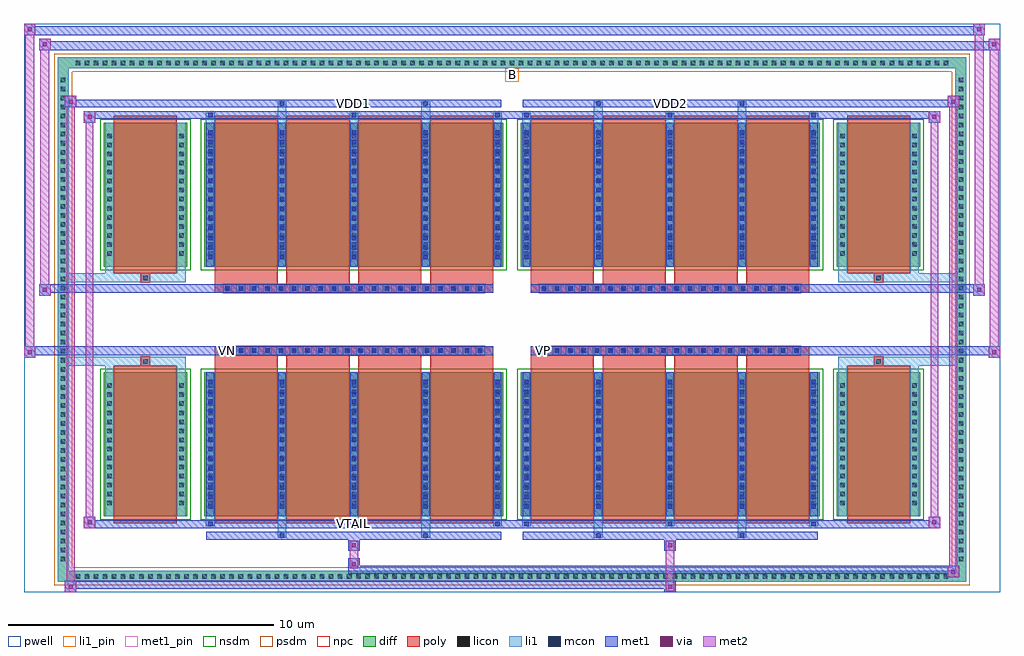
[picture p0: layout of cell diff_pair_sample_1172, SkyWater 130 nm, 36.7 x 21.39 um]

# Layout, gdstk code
import gdstk
lib = gdstk.Library(unit=1e-6, precision=5e-09)
def R(c, l, rs):  # rectangles x0, y0, x1, y1
    for r in rs: c.add(gdstk.rectangle(r[:2], r[2:], *l))
def A(c, l, x, y, w, h, nx, ny, dx, dy):  # array of equal rectangles
    R(c, l, [(x+i*dx, y+j*dy, x+i*dx+w, y+j*dy+h) for i in range(nx) for j in range(ny)])
def P(c, l, *ps):  # polygons
    for p in ps: c.add(gdstk.Polygon(p, *l))
pwell = (64, 44)
diff = (65, 20)
poly = (66, 20)
licon = (66, 44)
li1_pin = (67, 16)
li1 = (67, 20)
mcon = (67, 44)
met1_pin = (68, 16)
met1 = (68, 20)
via = (68, 44)
met2 = (69, 20)
nsdm = (93, 44)
psdm = (94, 20)
npc = (95, 20)

diff_pair_sample_1172 = lib.new_cell('diff_pair_sample_1172')
R(diff_pair_sample_1172, pwell, [(-18.35,-10.26,18.35,11.13), (-15.67,-8.45,-0.01,-0.805), (0.01,-8.45,15.67,-0.805), (-15.67,0.805,-0.01,8.45), (0.01,0.805,15.67,8.45)])
A(diff_pair_sample_1172, diff, -16.525, -9.86, 0.41, 0.41, 97, 2, 0.34, 19.31)
A(diff_pair_sample_1172, diff, -17.08, -9.215, 0.41, 0.41, 1, 54, 0, 0.34)
A(diff_pair_sample_1172, diff, 16.67, -9.215, 0.41, 0.41, 1, 54, 0, 0.34)
R(diff_pair_sample_1172, diff, [(-16.525,-9.86,16.525,-9.45), (-17.08,-9.215,-16.67,9.215), (16.67,-9.215,17.08,9.215), (-15.36,-7.405,-12.21,-1.985), (-11.57,-7.405,-0.32,-1.985), (0.32,-7.405,11.57,-1.985), (12.21,-7.405,15.36,-1.985), (-15.36,1.985,-12.21,7.405), (-11.57,1.985,-0.32,7.405), (0.32,1.985,11.57,7.405), (12.21,1.985,15.36,7.405), (-16.525,9.45,16.525,9.86)])
P(diff_pair_sample_1172, diff, [(17.08,9.86),(-17.08,9.86),(-17.08,-9.45),(-16.67,-9.45),(-16.67,9.45),(16.67,9.45),(16.67,-9.45),(-16.67,-9.45),(-17.08,-9.45),(-17.08,-9.86),(17.08,-9.86)])
A(diff_pair_sample_1172, poly, -11.18, -7.655, 2.37, 5.92, 4, 2, 2.7, 9.39)
A(diff_pair_sample_1172, poly, 0.71, -7.655, 2.37, 5.92, 4, 2, 2.7, 9.39)
A(diff_pair_sample_1172, poly, -11.18, -1.735, 2.37, 0.4, 4, 2, 2.7, 3.07)
A(diff_pair_sample_1172, poly, 0.71, -1.735, 2.37, 0.4, 4, 2, 2.7, 3.07)
A(diff_pair_sample_1172, poly, -10.86, -1.335, 0.33, 0.33, 20, 2, 0.5, 2.34)
A(diff_pair_sample_1172, poly, 1.03, -1.335, 0.33, 0.33, 20, 2, 0.5, 2.34)
R(diff_pair_sample_1172, poly, [(-14.97,-7.655,-12.6,-1.735), (12.6,-7.655,14.97,-1.735), (-13.95,-1.735,-13.62,-1.405), (-13.95,-1.735,-13.62,-1.405), (13.62,-1.735,13.95,-1.405), (13.62,-1.735,13.95,-1.405), (-11.18,-1.335,-0.71,-1.005), (0.71,-1.335,11.18,-1.005), (-11.18,1.005,-0.71,1.335), (0.71,1.005,11.18,1.335), (-13.95,1.405,-13.62,1.735), (-13.95,1.405,-13.62,1.735), (13.62,1.405,13.95,1.735), (13.62,1.405,13.95,1.735), (-14.97,1.735,-12.6,7.655), (12.6,1.735,14.97,7.655)])
A(diff_pair_sample_1172, licon, -16.405, -9.74, 0.17, 0.17, 97, 2, 0.34, 19.31)
A(diff_pair_sample_1172, licon, -16.96, -9.095, 0.17, 0.17, 1, 54, 0, 0.34)
A(diff_pair_sample_1172, licon, 16.79, -9.095, 0.17, 0.17, 1, 54, 0, 0.34)
A(diff_pair_sample_1172, licon, -15.22, -6.99, 0.17, 0.17, 1, 14, 0, 0.34)
A(diff_pair_sample_1172, licon, -12.52, -6.99, 0.17, 0.17, 1, 14, 0, 0.34)
A(diff_pair_sample_1172, licon, -11.43, -6.99, 0.17, 0.17, 5, 14, 2.7, 0.34)
A(diff_pair_sample_1172, licon, 0.46, -6.99, 0.17, 0.17, 5, 14, 2.7, 0.34)
A(diff_pair_sample_1172, licon, 12.35, -6.99, 0.17, 0.17, 1, 14, 0, 0.34)
A(diff_pair_sample_1172, licon, 15.05, -6.99, 0.17, 0.17, 1, 14, 0, 0.34)
A(diff_pair_sample_1172, licon, -10.78, -1.255, 0.17, 0.17, 20, 2, 0.5, 2.34)
A(diff_pair_sample_1172, licon, 1.11, -1.255, 0.17, 0.17, 20, 2, 0.5, 2.34)
A(diff_pair_sample_1172, licon, -15.22, 2.4, 0.17, 0.17, 1, 14, 0, 0.34)
A(diff_pair_sample_1172, licon, -12.52, 2.4, 0.17, 0.17, 1, 14, 0, 0.34)
A(diff_pair_sample_1172, licon, -11.43, 2.4, 0.17, 0.17, 5, 14, 2.7, 0.34)
A(diff_pair_sample_1172, licon, 0.46, 2.4, 0.17, 0.17, 5, 14, 2.7, 0.34)
A(diff_pair_sample_1172, licon, 12.35, 2.4, 0.17, 0.17, 1, 14, 0, 0.34)
A(diff_pair_sample_1172, licon, 15.05, 2.4, 0.17, 0.17, 1, 14, 0, 0.34)
R(diff_pair_sample_1172, licon, [(-13.87,-1.655,-13.7,-1.485), (13.7,-1.655,13.87,-1.485), (-13.87,1.485,-13.7,1.655), (13.7,1.485,13.87,1.655)])
R(diff_pair_sample_1172, li1_pin, [(-0.25,8.95,0.25,9.45)])
A(diff_pair_sample_1172, li1, -16.485, -9.82, 0.33, 0.33, 97, 2, 0.34, 19.31)
A(diff_pair_sample_1172, li1, -17.04, -9.175, 0.33, 0.33, 1, 54, 0, 0.34)
A(diff_pair_sample_1172, li1, 16.71, -9.175, 0.33, 0.33, 1, 54, 0, 0.34)
A(diff_pair_sample_1172, li1, -11.51, -7.78, 0.33, 0.375, 3, 2, 5.4, 15.185)
A(diff_pair_sample_1172, li1, -11.43, -7.78, 0.17, 0.17, 3, 2, 5.4, 15.39)
A(diff_pair_sample_1172, li1, 0.38, -7.78, 0.33, 0.375, 3, 2, 5.4, 15.185)
A(diff_pair_sample_1172, li1, 0.46, -7.78, 0.17, 0.17, 3, 2, 5.4, 15.39)
A(diff_pair_sample_1172, li1, -11.51, -7.405, 0.33, 5.42, 5, 2, 2.7, 9.39)
A(diff_pair_sample_1172, li1, 0.38, -7.405, 0.33, 5.42, 5, 2, 2.7, 9.39)
A(diff_pair_sample_1172, li1, -11.43, -7.12, 0.17, 0.17, 5, 14, 2.7, 0.36)
A(diff_pair_sample_1172, li1, -11.43, -7.12, 0.17, 4.85, 5, 2, 2.7, 9.39)
A(diff_pair_sample_1172, li1, 0.46, -7.12, 0.17, 0.17, 5, 14, 2.7, 0.36)
A(diff_pair_sample_1172, li1, 0.46, -7.12, 0.17, 4.85, 5, 2, 2.7, 9.39)
A(diff_pair_sample_1172, li1, -15.3, -7.07, 0.33, 0.33, 1, 14, 0, 0.34)
A(diff_pair_sample_1172, li1, -12.6, -7.07, 0.33, 0.33, 1, 14, 0, 0.34)
A(diff_pair_sample_1172, li1, -11.51, -7.07, 0.33, 0.33, 5, 14, 2.7, 0.34)
A(diff_pair_sample_1172, li1, 0.38, -7.07, 0.33, 0.33, 5, 14, 2.7, 0.34)
A(diff_pair_sample_1172, li1, 12.27, -7.07, 0.33, 0.33, 1, 14, 0, 0.34)
A(diff_pair_sample_1172, li1, 14.97, -7.07, 0.33, 0.33, 1, 14, 0, 0.34)
A(diff_pair_sample_1172, li1, -10.86, -1.335, 0.33, 0.33, 20, 2, 0.5, 2.34)
A(diff_pair_sample_1172, li1, 1.03, -1.335, 0.33, 0.33, 20, 2, 0.5, 2.34)
A(diff_pair_sample_1172, li1, -11.43, 2.27, 0.17, 0.17, 5, 14, 2.7, 0.36)
A(diff_pair_sample_1172, li1, 0.46, 2.27, 0.17, 0.17, 5, 14, 2.7, 0.36)
A(diff_pair_sample_1172, li1, -15.3, 2.32, 0.33, 0.33, 1, 14, 0, 0.34)
A(diff_pair_sample_1172, li1, -12.6, 2.32, 0.33, 0.33, 1, 14, 0, 0.34)
A(diff_pair_sample_1172, li1, -11.51, 2.32, 0.33, 0.33, 5, 14, 2.7, 0.34)
A(diff_pair_sample_1172, li1, 0.38, 2.32, 0.33, 0.33, 5, 14, 2.7, 0.34)
A(diff_pair_sample_1172, li1, 12.27, 2.32, 0.33, 0.33, 1, 14, 0, 0.34)
A(diff_pair_sample_1172, li1, 14.97, 2.32, 0.33, 0.33, 1, 14, 0, 0.34)
R(diff_pair_sample_1172, li1, [(-17.08,-9.86,-16.67,-9.45), (-17.08,-9.86,-16.67,-9.45), (-16.67,-9.86,16.67,-9.45), (16.67,-9.86,17.08,-9.45), (16.67,-9.86,17.08,-9.45), (-17.08,-9.45,-16.67,9.45), (16.67,-9.45,17.08,9.45), (-8.81,-8.21,-8.48,-7.405), (-8.73,-8.21,-8.56,-8.04), (-3.41,-8.21,-3.08,-7.405), (-3.33,-8.21,-3.16,-8.04), (3.08,-8.21,3.41,-7.405), (3.16,-8.21,3.33,-8.04), (8.48,-8.21,8.81,-7.405), (8.56,-8.21,8.73,-8.04), (-15.3,-7.405,-14.97,-1.985), (-12.6,-7.405,-12.27,-1.985), (12.27,-7.405,12.6,-1.985), (14.97,-7.405,15.3,-1.985), (-15.3,-1.985,-14.97,-1.405), (-12.6,-1.985,-12.27,-1.405), (12.27,-1.985,12.6,-1.405), (14.97,-1.985,15.3,-1.405), (-17.08,-1.735,-13.95,-1.405), (-15.3,-1.735,-13.95,-1.405), (-13.95,-1.735,-13.62,-1.405), (-13.62,-1.735,-12.27,-1.405), (12.27,-1.735,13.62,-1.405), (13.62,-1.735,13.95,-1.405), (13.62,-1.735,17.08,-1.405), (13.95,-1.735,15.3,-1.405), (-17.08,1.405,-13.95,1.735), (-15.3,1.405,-13.95,1.735), (-15.3,1.405,-14.97,1.985), (-13.95,1.405,-13.62,1.735), (-13.62,1.405,-12.27,1.735), (-12.6,1.405,-12.27,1.985), (12.27,1.405,13.62,1.735), (12.27,1.405,12.6,1.985), (13.62,1.405,13.95,1.735), (13.62,1.405,17.08,1.735), (13.95,1.405,15.3,1.735), (14.97,1.405,15.3,1.985), (-15.3,1.985,-14.97,7.405), (-12.6,1.985,-12.27,7.405), (12.27,1.985,12.6,7.405), (14.97,1.985,15.3,7.405), (-8.81,7.405,-8.48,8.21), (-3.41,7.405,-3.08,8.21), (3.08,7.405,3.41,8.21), (8.48,7.405,8.81,8.21), (-8.73,8.04,-8.56,8.21), (-3.33,8.04,-3.16,8.21), (3.16,8.04,3.33,8.21), (8.56,8.04,8.73,8.21), (-17.08,9.45,-16.67,9.86), (-17.08,9.45,-16.67,9.86), (-16.67,9.45,16.67,9.86), (16.67,9.45,17.08,9.86), (16.67,9.45,17.08,9.86)])
A(diff_pair_sample_1172, mcon, -11.43, -7.78, 0.17, 0.17, 3, 2, 5.4, 15.39)
A(diff_pair_sample_1172, mcon, 0.46, -7.78, 0.17, 0.17, 3, 2, 5.4, 15.39)
A(diff_pair_sample_1172, mcon, -11.43, -7.12, 0.17, 0.17, 5, 14, 2.7, 0.36)
A(diff_pair_sample_1172, mcon, 0.46, -7.12, 0.17, 0.17, 5, 14, 2.7, 0.36)
A(diff_pair_sample_1172, mcon, -10.78, -1.255, 0.17, 0.17, 20, 2, 0.5, 2.34)
A(diff_pair_sample_1172, mcon, 1.11, -1.255, 0.17, 0.17, 20, 2, 0.5, 2.34)
A(diff_pair_sample_1172, mcon, -11.43, 2.27, 0.17, 0.17, 5, 14, 2.7, 0.36)
A(diff_pair_sample_1172, mcon, 0.46, 2.27, 0.17, 0.17, 5, 14, 2.7, 0.36)
R(diff_pair_sample_1172, mcon, [(-8.73,-8.21,-8.56,-8.04), (-3.33,-8.21,-3.16,-8.04), (3.16,-8.21,3.33,-8.04), (8.56,-8.21,8.73,-8.04), (-8.73,8.04,-8.56,8.21), (-3.33,8.04,-3.16,8.21), (3.16,8.04,3.33,8.21), (8.56,8.04,8.73,8.21)])
R(diff_pair_sample_1172, met1_pin, [(-6.08,-7.82,-5.81,-7.55), (-10.83,-1.295,-10.56,-1.025), (1.06,-1.295,1.33,-1.025), (-6.08,8,-5.81,8.27), (5.81,8,6.08,8.27)])
A(diff_pair_sample_1172, met1, -11.49, -7.84, 0.29, 0.29, 3, 2, 5.4, 15.39)
A(diff_pair_sample_1172, met1, 0.4, -7.84, 0.29, 0.29, 3, 2, 5.4, 15.39)
A(diff_pair_sample_1172, met1, -11.49, -7.405, 0.29, 5.42, 5, 2, 2.7, 9.39)
A(diff_pair_sample_1172, met1, 0.4, -7.405, 0.29, 5.42, 5, 2, 2.7, 9.39)
A(diff_pair_sample_1172, met1, -11.49, -7.18, 0.29, 0.29, 5, 14, 2.7, 0.36)
A(diff_pair_sample_1172, met1, 0.4, -7.18, 0.29, 0.29, 5, 14, 2.7, 0.36)
A(diff_pair_sample_1172, met1, -10.84, -1.315, 0.29, 0.29, 20, 2, 0.5, 2.34)
A(diff_pair_sample_1172, met1, 1.05, -1.315, 0.29, 0.29, 20, 2, 0.5, 2.34)
A(diff_pair_sample_1172, met1, -11.49, 2.21, 0.29, 0.29, 5, 14, 2.7, 0.36)
A(diff_pair_sample_1172, met1, 0.4, 2.21, 0.29, 0.29, 5, 14, 2.7, 0.36)
R(diff_pair_sample_1172, met1, [(-16.81,-10.26,-16.38,-9.83), (5.73,-10.26,6.16,-9.83), (-16.81,-10.12,6.16,-9.83), (16.38,-9.69,16.81,-9.26), (-6.16,-9.55,16.81,-9.26), (-6.16,-9.41,-5.73,-8.98), (-6.16,-8.7,-5.73,-8.27), (5.73,-8.7,6.16,-8.27), (-11.49,-8.27,-0.4,-7.98), (-8.79,-8.27,-8.5,-7.98), (-3.39,-8.27,-3.1,-7.98), (0.4,-8.27,11.49,-7.98), (3.1,-8.27,3.39,-7.98), (8.5,-8.27,8.79,-7.98), (-16.1,-7.84,-15.67,-7.41), (-16.1,-7.84,-11.49,-7.55), (-11.49,-7.84,-0.4,-7.55), (-0.4,-7.84,0.4,-7.55), (0.4,-7.84,11.49,-7.55), (11.49,-7.84,16.1,-7.55), (15.67,-7.84,16.1,-7.41), (-18.35,-1.435,-17.92,-1.005), (17.92,-1.435,18.35,-1.005), (-18.35,-1.335,-0.71,-1.005), (-11.18,-1.335,-0.71,-1.005), (0.71,-1.335,11.18,-1.005), (0.71,-1.335,18.35,-1.005), (-17.78,0.905,-17.35,1.335), (17.35,0.905,17.78,1.335), (-17.78,1.005,-11.18,1.335), (-11.18,1.005,-0.71,1.335), (0.71,1.005,11.18,1.335), (11.18,1.005,17.78,1.335), (-16.1,7.41,-15.67,7.84), (15.67,7.41,16.1,7.84), (-16.1,7.55,-11.49,7.84), (-11.49,7.55,-0.4,7.84), (-0.4,7.55,0.4,7.84), (0.4,7.55,11.49,7.84), (11.49,7.55,16.1,7.84), (-16.81,7.98,-16.38,8.41), (-16.81,7.98,-11.49,8.27), (-11.49,7.98,-0.4,8.27), (-8.79,7.98,-8.5,8.27), (-3.39,7.98,-3.1,8.27), (0.4,7.98,11.49,8.27), (3.1,7.98,3.39,8.27), (8.5,7.98,8.79,8.27), (11.49,7.98,16.81,8.27), (16.38,7.98,16.81,8.41), (-17.78,10.13,-17.35,10.56), (-17.78,10.13,-15.67,10.46), (-15.67,10.13,15.67,10.46), (15.67,10.13,18.35,10.46), (17.92,10.13,18.35,10.56), (-18.35,10.7,-17.92,11.13), (-18.35,10.7,-15.67,11.03), (-15.67,10.7,15.67,11.03), (15.67,10.7,17.78,11.03), (17.35,10.7,17.78,11.13)])
R(diff_pair_sample_1172, via, [(-16.67,-10.12,-16.52,-9.97), (5.87,-10.12,6.02,-9.97), (16.52,-9.55,16.67,-9.4), (-6.02,-9.27,-5.87,-9.12), (-6.02,-8.56,-5.87,-8.41), (5.87,-8.56,6.02,-8.41), (-15.96,-7.7,-15.81,-7.55), (15.81,-7.7,15.96,-7.55), (-18.21,-1.295,-18.06,-1.145), (18.06,-1.295,18.21,-1.145), (-17.64,1.045,-17.49,1.195), (17.49,1.045,17.64,1.195), (-15.96,7.55,-15.81,7.7), (15.81,7.55,15.96,7.7), (-16.67,8.12,-16.52,8.27), (16.52,8.12,16.67,8.27), (-17.64,10.27,-17.49,10.42), (18.06,10.27,18.21,10.42), (-18.21,10.84,-18.06,10.99), (17.49,10.84,17.64,10.99)])
R(diff_pair_sample_1172, met2, [(-16.81,-10.26,-16.38,-9.83), (-16.74,-10.26,-16.45,8.41), (-16.45,-10.26,-16.38,-9.83), (-16.76,-10.21,-16.43,-9.88), (5.78,-10.21,6.11,-9.88), (5.78,-9.88,6.11,-8.65), (16.38,-9.69,16.81,-9.26), (16.45,-9.69,16.74,8.41), (16.74,-9.69,16.81,-9.26), (16.43,-9.64,16.76,-9.31), (-6.11,-9.36,-5.78,-9.03), (-6.11,-9.03,-5.78,-8.65), (-6.11,-8.65,-5.78,-8.32), (5.78,-8.65,6.11,-8.32), (-16.1,-7.84,-15.67,-7.41), (-16.03,-7.84,-15.74,7.84), (-15.74,-7.84,-15.67,-7.41), (15.67,-7.84,16.1,-7.41), (15.74,-7.84,16.03,7.84), (16.03,-7.84,16.1,-7.41), (-16.05,-7.79,-15.72,-7.46), (15.72,-7.79,16.05,-7.46), (-18.35,-1.435,-17.92,-1.005), (-18.3,-1.435,-17.97,11.13), (-17.97,-1.435,-17.92,-1.005), (17.92,-1.435,18.35,-1.005), (17.97,-1.435,18.3,10.56), (18.3,-1.435,18.35,-1.005), (-18.3,-1.385,-17.97,-1.055), (17.97,-1.385,18.3,-1.055), (-17.78,0.905,-17.35,1.335), (-17.73,0.905,-17.4,10.56), (-17.4,0.905,-17.35,1.335), (17.35,0.905,17.78,1.335), (17.4,0.905,17.73,11.13), (17.73,0.905,17.78,1.335), (-17.73,0.955,-17.4,1.285), (17.4,0.955,17.73,1.285), (-16.1,7.41,-15.67,7.84), (-15.74,7.41,-15.67,7.84), (15.67,7.41,16.1,7.84), (16.03,7.41,16.1,7.84), (-16.05,7.46,-15.72,7.79), (15.72,7.46,16.05,7.79), (-16.81,7.98,-16.38,8.41), (-16.45,7.98,-16.38,8.41), (16.38,7.98,16.81,8.41), (16.74,7.98,16.81,8.41), (-16.76,8.03,-16.43,8.36), (16.43,8.03,16.76,8.36), (-17.78,10.13,-17.35,10.56), (-17.4,10.13,-17.35,10.56), (17.92,10.13,18.35,10.56), (18.3,10.13,18.35,10.56), (-17.73,10.18,-17.4,10.51), (17.97,10.18,18.3,10.51), (-18.35,10.7,-17.92,11.13), (-17.97,10.7,-17.92,11.13), (17.35,10.7,17.78,11.13), (17.73,10.7,17.78,11.13), (-18.3,10.75,-17.97,11.08), (17.4,10.75,17.73,11.08)])
R(diff_pair_sample_1172, nsdm, [(-15.49,-7.535,-12.08,-1.855), (-11.7,-7.535,-0.19,-1.855), (0.19,-7.535,11.7,-1.855), (12.08,-7.535,15.49,-1.855), (-15.49,1.855,-12.08,7.535), (-11.7,1.855,-0.19,7.535), (0.19,1.855,11.7,7.535), (12.08,1.855,15.49,7.535)])
P(diff_pair_sample_1172, psdm, [(17.21,9.99),(-17.21,9.99),(-17.21,-9.32),(-16.54,-9.32),(-16.54,9.32),(16.54,9.32),(16.54,-9.32),(-16.54,-9.32),(-17.21,-9.32),(-17.21,-9.99),(17.21,-9.99)])
A(diff_pair_sample_1172, npc, -10.88, -1.355, 0.37, 0.37, 20, 2, 0.5, 2.34)
A(diff_pair_sample_1172, npc, 1.01, -1.355, 0.37, 0.37, 20, 2, 0.5, 2.34)
R(diff_pair_sample_1172, npc, [(-13.97,-1.755,-13.6,-1.385), (13.6,-1.755,13.97,-1.385), (-10.88,-1.355,-10.01,-0.985), (-10.88,-1.355,-10.01,-0.985), (-10.38,-1.355,-9.51,-0.985), (-10.38,-1.355,-9.51,-0.985), (-9.88,-1.355,-9.01,-0.985), (-9.88,-1.355,-9.01,-0.985), (-9.38,-1.355,-8.51,-0.985), (-9.38,-1.355,-8.51,-0.985), (-8.88,-1.355,-8.01,-0.985), (-8.88,-1.355,-8.01,-0.985), (-8.38,-1.355,-7.51,-0.985), (-8.38,-1.355,-7.51,-0.985), (-7.88,-1.355,-7.01,-0.985), (-7.88,-1.355,-7.01,-0.985), (-7.38,-1.355,-6.51,-0.985), (-7.38,-1.355,-6.51,-0.985), (-6.88,-1.355,-6.01,-0.985), (-6.88,-1.355,-6.01,-0.985), (-6.38,-1.355,-5.51,-0.985), (-6.38,-1.355,-5.51,-0.985), (-5.88,-1.355,-5.01,-0.985), (-5.88,-1.355,-5.01,-0.985), (-5.38,-1.355,-4.51,-0.985), (-5.38,-1.355,-4.51,-0.985), (-4.88,-1.355,-4.01,-0.985), (-4.88,-1.355,-4.01,-0.985), (-4.38,-1.355,-3.51,-0.985), (-4.38,-1.355,-3.51,-0.985), (-3.88,-1.355,-3.01,-0.985), (-3.88,-1.355,-3.01,-0.985), (-3.38,-1.355,-2.51,-0.985), (-3.38,-1.355,-2.51,-0.985), (-2.88,-1.355,-2.01,-0.985), (-2.88,-1.355,-2.01,-0.985), (-2.38,-1.355,-1.51,-0.985), (-2.38,-1.355,-1.51,-0.985), (-1.88,-1.355,-1.01,-0.985), (-1.88,-1.355,-1.01,-0.985), (1.01,-1.355,1.88,-0.985), (1.01,-1.355,1.88,-0.985), (1.51,-1.355,2.38,-0.985), (1.51,-1.355,2.38,-0.985), (2.01,-1.355,2.88,-0.985), (2.01,-1.355,2.88,-0.985), (2.51,-1.355,3.38,-0.985), (2.51,-1.355,3.38,-0.985), (3.01,-1.355,3.88,-0.985), (3.01,-1.355,3.88,-0.985), (3.51,-1.355,4.38,-0.985), (3.51,-1.355,4.38,-0.985), (4.01,-1.355,4.88,-0.985), (4.01,-1.355,4.88,-0.985), (4.51,-1.355,5.38,-0.985), (4.51,-1.355,5.38,-0.985), (5.01,-1.355,5.88,-0.985), (5.01,-1.355,5.88,-0.985), (5.51,-1.355,6.38,-0.985), (5.51,-1.355,6.38,-0.985), (6.01,-1.355,6.88,-0.985), (6.01,-1.355,6.88,-0.985), (6.51,-1.355,7.38,-0.985), (6.51,-1.355,7.38,-0.985), (7.01,-1.355,7.88,-0.985), (7.01,-1.355,7.88,-0.985), (7.51,-1.355,8.38,-0.985), (7.51,-1.355,8.38,-0.985), (8.01,-1.355,8.88,-0.985), (8.01,-1.355,8.88,-0.985), (8.51,-1.355,9.38,-0.985), (8.51,-1.355,9.38,-0.985), (9.01,-1.355,9.88,-0.985), (9.01,-1.355,9.88,-0.985), (9.51,-1.355,10.38,-0.985), (9.51,-1.355,10.38,-0.985), (10.01,-1.355,10.88,-0.985), (10.01,-1.355,10.88,-0.985), (-10.88,0.985,-10.01,1.355), (-10.88,0.985,-10.01,1.355), (-10.38,0.985,-9.51,1.355), (-10.38,0.985,-9.51,1.355), (-9.88,0.985,-9.01,1.355), (-9.88,0.985,-9.01,1.355), (-9.38,0.985,-8.51,1.355), (-9.38,0.985,-8.51,1.355), (-8.88,0.985,-8.01,1.355), (-8.88,0.985,-8.01,1.355), (-8.38,0.985,-7.51,1.355), (-8.38,0.985,-7.51,1.355), (-7.88,0.985,-7.01,1.355), (-7.88,0.985,-7.01,1.355), (-7.38,0.985,-6.51,1.355), (-7.38,0.985,-6.51,1.355), (-6.88,0.985,-6.01,1.355), (-6.88,0.985,-6.01,1.355), (-6.38,0.985,-5.51,1.355), (-6.38,0.985,-5.51,1.355), (-5.88,0.985,-5.01,1.355), (-5.88,0.985,-5.01,1.355), (-5.38,0.985,-4.51,1.355), (-5.38,0.985,-4.51,1.355), (-4.88,0.985,-4.01,1.355), (-4.88,0.985,-4.01,1.355), (-4.38,0.985,-3.51,1.355), (-4.38,0.985,-3.51,1.355), (-3.88,0.985,-3.01,1.355), (-3.88,0.985,-3.01,1.355), (-3.38,0.985,-2.51,1.355), (-3.38,0.985,-2.51,1.355), (-2.88,0.985,-2.01,1.355), (-2.88,0.985,-2.01,1.355), (-2.38,0.985,-1.51,1.355), (-2.38,0.985,-1.51,1.355), (-1.88,0.985,-1.01,1.355), (-1.88,0.985,-1.01,1.355), (1.01,0.985,1.88,1.355), (1.01,0.985,1.88,1.355), (1.51,0.985,2.38,1.355), (1.51,0.985,2.38,1.355), (2.01,0.985,2.88,1.355), (2.01,0.985,2.88,1.355), (2.51,0.985,3.38,1.355), (2.51,0.985,3.38,1.355), (3.01,0.985,3.88,1.355), (3.01,0.985,3.88,1.355), (3.51,0.985,4.38,1.355), (3.51,0.985,4.38,1.355), (4.01,0.985,4.88,1.355), (4.01,0.985,4.88,1.355), (4.51,0.985,5.38,1.355), (4.51,0.985,5.38,1.355), (5.01,0.985,5.88,1.355), (5.01,0.985,5.88,1.355), (5.51,0.985,6.38,1.355), (5.51,0.985,6.38,1.355), (6.01,0.985,6.88,1.355), (6.01,0.985,6.88,1.355), (6.51,0.985,7.38,1.355), (6.51,0.985,7.38,1.355), (7.01,0.985,7.88,1.355), (7.01,0.985,7.88,1.355), (7.51,0.985,8.38,1.355), (7.51,0.985,8.38,1.355), (8.01,0.985,8.88,1.355), (8.01,0.985,8.88,1.355), (8.51,0.985,9.38,1.355), (8.51,0.985,9.38,1.355), (9.01,0.985,9.88,1.355), (9.01,0.985,9.88,1.355), (9.51,0.985,10.38,1.355), (9.51,0.985,10.38,1.355), (10.01,0.985,10.88,1.355), (10.01,0.985,10.88,1.355), (-13.97,1.385,-13.6,1.755), (13.6,1.385,13.97,1.755)])
diff_pair_sample_1172.add(gdstk.Label('VTAIL', (-5.945,-7.685), layer=68, texttype=5))
diff_pair_sample_1172.add(gdstk.Label('VN', (-10.695,-1.16), layer=68, texttype=5))
diff_pair_sample_1172.add(gdstk.Label('VP', (1.195,-1.16), layer=68, texttype=5))
diff_pair_sample_1172.add(gdstk.Label('B', (0,9.2), layer=67, texttype=5))
diff_pair_sample_1172.add(gdstk.Label('VDD2', (5.945,8.135), layer=68, texttype=5))
diff_pair_sample_1172.add(gdstk.Label('VDD1', (-5.945,8.135), layer=68, texttype=5))

lib.write_gds('diff_pair_sample_1172.gds')
